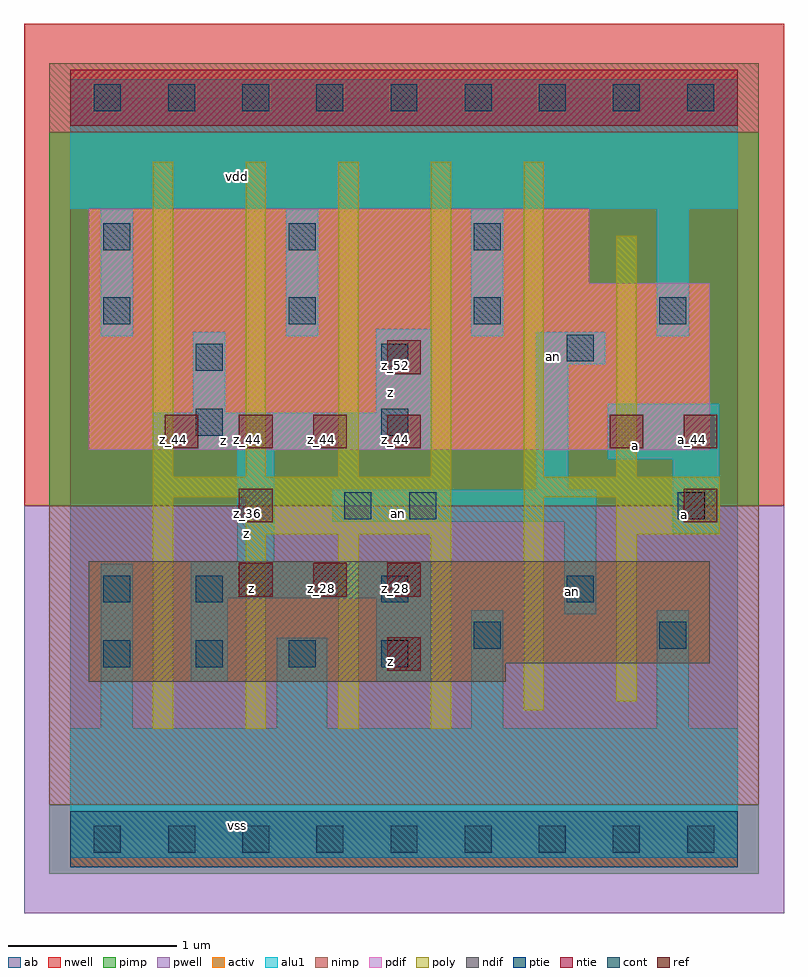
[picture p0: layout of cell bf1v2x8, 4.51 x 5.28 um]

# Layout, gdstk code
import gdstk
lib = gdstk.Library(unit=1e-6, precision=2.5e-09)
def R(c, l, rs):  # rectangles x0, y0, x1, y1
    for r in rs: c.add(gdstk.rectangle(r[:2], r[2:], *l))
def A(c, l, x, y, w, h, nx, ny, dx, dy):  # array of equal rectangles
    R(c, l, [(x+i*dx, y+j*dy, x+i*dx+w, y+j*dy+h) for i in range(nx) for j in range(ny)])
ndif = (3, 0)
pdif = (4, 0)
ntie = (5, 0)
ptie = (6, 0)
ref = (24, 0)
cont = (25, 0)
pwell = (41, 0)
nwell = (42, 0)
activ = (43, 0)
pimp = (44, 0)
nimp = (45, 0)
poly = (46, 0)
alu1 = (49, 0)
ab = (63, 0)

bf1v2x8 = lib.new_cell('bf1v2x8')
R(bf1v2x8, ndif, [(0.11,0.935,2.585,1.045), (0.11,1.045,3.795,1.65)])
R(bf1v2x8, pdif, [(0.11,2.31,3.795,3.3), (0.11,3.3,3.08,3.74)])
R(bf1v2x8, ntie, [(0,4.235,3.96,4.565)])
R(bf1v2x8, ptie, [(0,-0.165,3.96,0.165)])
A(bf1v2x8, ref, 1, 1.44, 0.2, 0.2, 3, 1, 0.44, 0)
A(bf1v2x8, ref, 0.56, 2.32, 0.2, 0.2, 4, 1, 0.44, 0)
R(bf1v2x8, ref, [(1.88,1,2.08,1.2), (1,1.88,1.2,2.08), (3.64,1.88,3.84,2.08), (3.2,2.32,3.4,2.52), (3.64,2.32,3.84,2.52), (1.88,2.76,2.08,2.96)])
A(bf1v2x8, cont, 0.14, -0.08, 0.16, 0.16, 9, 2, 0.44, 4.4)
A(bf1v2x8, cont, 0.195, 1.02, 0.16, 0.16, 4, 1, 0.55, 0)
A(bf1v2x8, cont, 0.745, 1.405, 0.16, 0.16, 3, 1, 1.1, 0)
A(bf1v2x8, cont, 0.195, 3.055, 0.16, 0.16, 4, 1, 1.1, 0)
A(bf1v2x8, cont, 0.195, 3.495, 0.16, 0.16, 3, 1, 1.1, 0)
R(bf1v2x8, cont, [(2.395,1.13,2.555,1.29), (3.495,1.13,3.655,1.29), (0.195,1.405,0.355,1.565), (1.625,1.9,1.785,2.06), (2.01,1.9,2.17,2.06), (3.605,1.9,3.765,2.06), (0.745,2.395,0.905,2.555), (1.845,2.395,2.005,2.555), (0.745,2.78,0.905,2.94), (1.845,2.78,2.005,2.94), (2.945,2.835,3.105,2.995)])
R(bf1v2x8, pwell, [(-0.275,-0.44,4.235,1.98)])
R(bf1v2x8, nwell, [(-0.275,1.98,4.235,4.84)])
R(bf1v2x8, activ, [(0,-0.165,3.96,0.165), (0.11,0.935,2.585,1.045), (0.11,1.045,3.795,1.65), (0.11,2.31,3.795,3.3), (0.11,3.3,3.08,3.74), (0,4.235,3.96,4.565)])
R(bf1v2x8, pimp, [(-0.125,-0.205,4.085,0.205), (-0.125,1.98,4.085,4.195)])
R(bf1v2x8, nimp, [(-0.125,0.205,4.085,1.98), (-0.125,4.195,4.085,4.605)])
A(bf1v2x8, poly, 1.04, 0.655, 0.12, 1.155, 3, 1, 0.55, 0)
A(bf1v2x8, poly, 0.49, 2.15, 0.12, 1.87, 5, 1, 0.55, 0)
R(bf1v2x8, poly, [(0.49,0.655,0.61,2.03), (2.69,0.765,2.81,2.03), (3.24,0.82,3.36,1.81), (1.04,1.81,2.26,2.03), (3.24,1.81,3.855,2.03), (0.49,2.03,2.26,2.15), (2.69,2.03,3.855,2.15), (3.24,2.15,3.36,3.58)])
A(bf1v2x8, alu1, 0.18, 2.985, 0.19, 0.755, 4, 1, 1.1, 0)
R(bf1v2x8, alu1, [(0,-0.11,3.96,0.66), (0.18,0.66,0.37,1.635), (1.225,0.66,1.525,1.195), (2.38,0.66,2.57,1.36), (3.48,0.66,3.67,1.36), (0.715,0.935,0.935,1.43), (1.815,0.935,2.145,1.43), (2.93,1.335,3.12,1.885), (0.715,1.43,2.145,1.65), (0.99,1.65,1.21,2.31), (3.575,1.815,3.85,2.255), (1.555,1.885,3.12,2.075), (2.765,2.075,2.955,2.82), (3.19,2.255,3.85,2.585), (0.495,2.31,2.145,2.53), (0.73,2.53,0.92,3.01), (1.815,2.53,2.145,3.025), (2.765,2.82,3.175,3.01), (0,3.74,3.96,4.51)])
R(bf1v2x8, ab, [(0,0,3.96,4.4)])
bf1v2x8.add(gdstk.Label('vss', (0.99,0.0825), layer=49, texttype=0))
bf1v2x8.add(gdstk.Label('a', (3.6425,1.925), layer=49, texttype=0))
bf1v2x8.add(gdstk.Label('an', (2.9775,1.4725), layer=49, texttype=0))
bf1v2x8.add(gdstk.Label('z', (1.8975,1.0575), layer=49, texttype=0))
bf1v2x8.add(gdstk.Label('z', (1.0725,1.485), layer=49, texttype=0))
bf1v2x8.add(gdstk.Label('an', (1.945,1.9325), layer=49, texttype=0))
bf1v2x8.add(gdstk.Label('a', (3.355,2.3375), layer=49, texttype=0))
bf1v2x8.add(gdstk.Label('z', (1.045,1.815), layer=49, texttype=0))
bf1v2x8.add(gdstk.Label('an', (2.8675,2.8675), layer=49, texttype=0))
bf1v2x8.add(gdstk.Label('z', (0.9075,2.365), layer=49, texttype=0))
bf1v2x8.add(gdstk.Label('z', (1.8975,2.6525), layer=49, texttype=0))
bf1v2x8.add(gdstk.Label('vdd', (0.99,3.9325), layer=49, texttype=0))
bf1v2x8.add(gdstk.Label('z_44', (0.61,2.37), layer=24, texttype=0))
bf1v2x8.add(gdstk.Label('z_28', (1.05,1.49), layer=24, texttype=0))
bf1v2x8.add(gdstk.Label('z_36', (1.05,1.93), layer=24, texttype=0))
bf1v2x8.add(gdstk.Label('z_44', (1.05,2.37), layer=24, texttype=0))
bf1v2x8.add(gdstk.Label('z_28', (1.49,1.49), layer=24, texttype=0))
bf1v2x8.add(gdstk.Label('z_44', (1.49,2.37), layer=24, texttype=0))
bf1v2x8.add(gdstk.Label('z_20', (1.93,1.05), layer=24, texttype=0))
bf1v2x8.add(gdstk.Label('z_28', (1.93,1.49), layer=24, texttype=0))
bf1v2x8.add(gdstk.Label('z_44', (1.93,2.37), layer=24, texttype=0))
bf1v2x8.add(gdstk.Label('z_52', (1.93,2.81), layer=24, texttype=0))
bf1v2x8.add(gdstk.Label('a_44', (3.25,2.37), layer=24, texttype=0))
bf1v2x8.add(gdstk.Label('a_36', (3.69,1.93), layer=24, texttype=0))
bf1v2x8.add(gdstk.Label('a_44', (3.69,2.37), layer=24, texttype=0))

lib.write_gds('bf1v2x8.gds')
